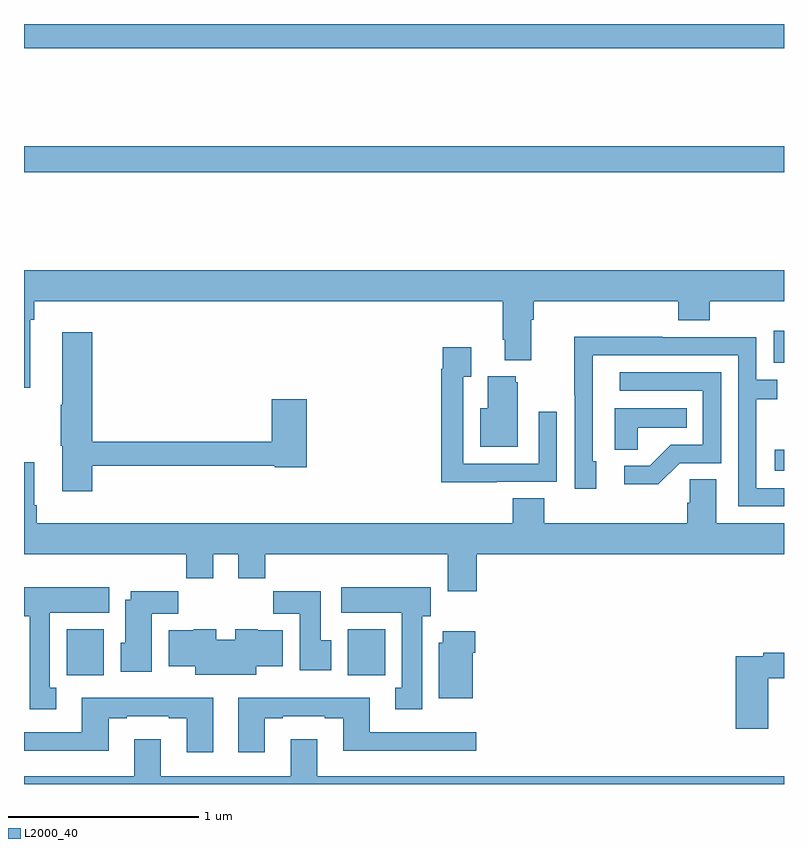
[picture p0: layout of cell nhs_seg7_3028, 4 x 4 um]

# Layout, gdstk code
import gdstk
lib = gdstk.Library(unit=1e-6, precision=1e-09)
def R(c, l, rs):  # rectangles x0, y0, x1, y1
    for r in rs: c.add(gdstk.rectangle(r[:2], r[2:], *l))
def P(c, l, *ps):  # polygons
    for p in ps: c.add(gdstk.Polygon(p, *l))
L2000_40 = (2000, 40)

nhs_seg7_3028 = lib.new_cell('nhs_seg7_3028')
R(nhs_seg7_3028, L2000_40, [(303.224,1074.572,303.421,1074.814), (304.703,1074.572,304.9,1074.814), (306.951,1075.649,307,1075.759), (306.945,1076.217,307,1076.386), (303,1077.22,307,1077.356), (303,1077.872,307,1078)])
P(nhs_seg7_3028, L2000_40, [(303.034,1076.444),(303.053,1076.444),(303.053,1076.54),(305.519,1076.54),(305.519,1076.338),(305.531,1076.338),(305.531,1076.231),(305.671,1076.231),(305.671,1076.444),(305.684,1076.444),(305.684,1076.54),(306.443,1076.54),(306.443,1076.441),(306.608,1076.441),(306.608,1076.54),(307,1076.54),(307,1076.704),(303,1076.704),(303,1076.085),(303.034,1076.085)],
  [(303.359,1075.674),(304.32,1075.674),(304.32,1075.666),(304.487,1075.666),(304.487,1076.026),(304.304,1076.026),(304.304,1075.802),(303.359,1075.802),(303.359,1076.377),(303.2,1076.377),(303.2,1075.997),(303.193,1075.997),(303.193,1075.779),(303.2,1075.779),(303.2,1075.542),(303.359,1075.542)],
  [(307,1075.557),(306.855,1075.557),(306.855,1076.026),(306.965,1076.026),(306.965,1076.127),(306.855,1076.127),(306.855,1076.352),(306.359,1076.352),(306.359,1076.354),(305.896,1076.354),(305.896,1076.047),(305.898,1076.047),(305.898,1075.554),(306.013,1075.554),(306.013,1075.698),(305.994,1075.698),(305.994,1076.256),(306.759,1076.256),(306.759,1075.461),(307,1075.461)],
  [(305.489,1075.59),(305.805,1075.59),(305.805,1075.96),(305.709,1075.96),(305.709,1075.686),(305.313,1075.686),(305.313,1076.143),(305.353,1076.143),(305.353,1076.299),(305.205,1076.299),(305.205,1076.186),(305.197,1076.186),(305.197,1075.589),(305.489,1075.589)],
  [(306.45,1075.689),(306.669,1075.689),(306.669,1076.166),(306.135,1076.166),(306.135,1076.07),(306.573,1076.07),(306.573,1075.785),(306.404,1075.785),(306.293,1075.674),(306.159,1075.674),(306.159,1075.577),(306.337,1075.577)],
  [(305.599,1076.115),(305.588,1076.115),(305.588,1076.146),(305.441,1076.146),(305.441,1075.978),(305.402,1075.978),(305.402,1075.775),(305.599,1075.775)],
  [(306.231,1075.874),(306.488,1075.874),(306.488,1075.978),(306.11,1075.978),(306.11,1075.759),(306.231,1075.759)],
  [(305.384,1075.208),(307,1075.208),(307,1075.372),(306.643,1075.372),(306.643,1075.604),(306.504,1075.604),(306.504,1075.481),(306.491,1075.481),(306.491,1075.372),(305.738,1075.372),(305.738,1075.505),(305.573,1075.505),(305.573,1075.372),(303.068,1075.372),(303.068,1075.468),(303.055,1075.468),(303.055,1075.693),(303,1075.693),(303,1075.208),(303.853,1075.208),(303.853,1075.084),(303.997,1075.084),(303.997,1075.208),(304.127,1075.208),(304.127,1075.084),(304.271,1075.084),(304.271,1075.208),(305.231,1075.208),(305.231,1075.014),(305.384,1075.014)],
  [(303.169,1074.506),(303.136,1074.506),(303.136,1074.902),(303.448,1074.902),(303.448,1075.036),(303,1075.036),(303,1074.882),(303.029,1074.882),(303.029,1074.393),(303.169,1074.393)],
  [(305.095,1074.882),(305.14,1074.882),(305.14,1075.036),(304.671,1075.036),(304.671,1074.902),(304.988,1074.902),(304.988,1074.506),(304.955,1074.506),(304.955,1074.393),(305.095,1074.393)],
  [(304.618,1074.756),(304.561,1074.756),(304.561,1075.015),(304.312,1075.015),(304.312,1074.896),(304.451,1074.896),(304.451,1074.6),(304.618,1074.6)],
  [(303.673,1074.896),(303.812,1074.896),(303.812,1075.015),(303.563,1075.015),(303.563,1074.97),(303.533,1074.97),(303.533,1074.744),(303.509,1074.744),(303.509,1074.59),(303.673,1074.59)],
  [(304.222,1074.62),(304.363,1074.62),(304.363,1074.808),(304.23,1074.808),(304.23,1074.814),(304.112,1074.814),(304.112,1074.76),(304.012,1074.76),(304.012,1074.814),(303.894,1074.814),(303.894,1074.808),(303.761,1074.808),(303.761,1074.62),(303.902,1074.62),(303.902,1074.575),(304.222,1074.575)],
  [(305.362,1074.692),(305.375,1074.692),(305.375,1074.805),(305.204,1074.805),(305.204,1074.744),(305.183,1074.744),(305.183,1074.452),(305.362,1074.452)],
  [(306.916,1074.556),(307,1074.556),(307,1074.692),(306.892,1074.692),(306.892,1074.672),(306.746,1074.672),(306.746,1074.291),(306.916,1074.291)],
  [(304.267,1074.345),(304.363,1074.345),(304.363,1074.357),(304.583,1074.357),(304.583,1074.345),(304.679,1074.345),(304.679,1074.176),(305.38,1074.176),(305.38,1074.273),(304.819,1074.273),(304.819,1074.454),(304.127,1074.454),(304.127,1074.168),(304.267,1074.168)],
  [(303.997,1074.454),(303.305,1074.454),(303.305,1074.273),(303,1074.273),(303,1074.176),(303.445,1074.176),(303.445,1074.345),(303.541,1074.345),(303.541,1074.357),(303.761,1074.357),(303.761,1074.345),(303.857,1074.345),(303.857,1074.168),(303.997,1074.168)],
  [(307,1074.04),(304.543,1074.04),(304.543,1074.235),(304.403,1074.235),(304.403,1074.04),(303.721,1074.04),(303.721,1074.235),(303.581,1074.235),(303.581,1074.04),(303,1074.04),(303,1074),(307,1074)])

lib.write_gds('nhs_seg7_3028.gds')
